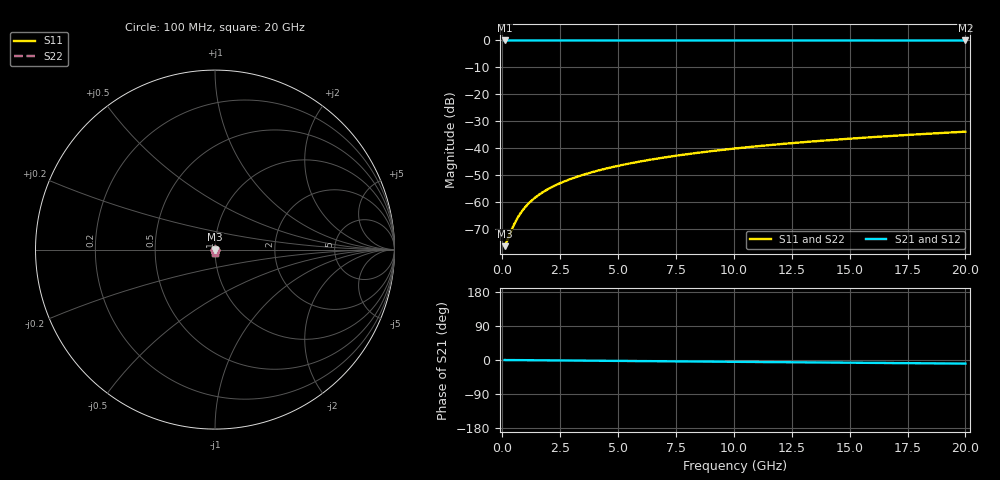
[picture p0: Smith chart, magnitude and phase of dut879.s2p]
! Touchstone file exported from HFSS 2026.1.0
!  File:  C:/ffzhzh/LocalFiles/Ansys_Project_Files/temp_train_TSV_879_1783185724_43440.aedt
!  Generated:  01:23:42 AM Jul  5, 2026
!  Design:  TSV
!  Project:  temp_train_TSV_879_1783185724_43440
! Variables:
!  h_bsmrdl = 2um
!  h_ox = 20um
!  h_rdl = 5um
!  h_sub = 99.41um
!  h_tmrdl = 5um
!  h_tsv = 99.41um
!  h_via = 3um
!  l_bsmrdl = 300um
!  l_sub = 420.68um
!  l_tmrdl = 200um
!  m_sub = 200um
!  pitch = 37.12um
!  r_tsv = 10.34um
!  s_tmrdl = 10um
!  w_bsmrdl = 18um
!  w_sub = 500um
!  w_tmrdl = 12um
!  x_tsv_center1 = 206um
!  x_tsv_center2 = 524um
!  x_tsv_center3 = 736um
!  x_tsv_center4 = 1054um
!  x_tsv_center5 = 1266um
!  x_tsv_center6 = 1584um
# GHz S MA R 50.000000
! Terminal data exported
! Port[1] = TSV1_1_T1
! Port[2] = TSV1_1_T2
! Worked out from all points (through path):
!   200 points, 100 MHz to 20 GHz, reference 50 ohm
!   highest |S21| = 0.00 dB at 100 MHz (marker M1); lowest = 0.0 dB at 20 GHz (marker M2)
!   group delay of S21, straight-line fit = 1.32 ps
!   lowest |S11| = -76.2 dB at 100 MHz (marker M3), VSWR 1.00, Z = 50 - j0.00476 ohm
!   |S11| at or under -10 dB: start of sweep to end of sweep
!   |S22| runs from -76.2 to -33.8 dB; largest |S21 - S12| = 5e-15
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0.1  0.0001549 -17.9  0.9999 -0.1  0.9999 -0.1  0.0001549 -17.9
! Gamma 0 0 0 0
! Port Impedance 50 0 50 0
0.2  0.0001907 -31.2  0.9998 -0.1  0.9998 -0.1  0.0001907 -31.2
0.4  0.0003091 -46.1  0.9998 -0.2  0.9998 -0.2  0.0003091 -46.1
0.5  0.0003839 -50.5  0.9998 -0.2  0.9998 -0.2  0.0003839 -50.5
0.6  0.0004655 -54.0  0.9997 -0.3  0.9997 -0.3  0.0004655 -54.0
0.7  0.000552 -56.9  0.9997 -0.3  0.9997 -0.3  0.000552 -56.9
0.8  0.0006419 -59.4  0.9997 -0.4  0.9997 -0.4  0.0006419 -59.4
1  0.0008279 -63.5  0.9996 -0.5  0.9996 -0.5  0.0008279 -63.5
1.3  0.001114 -67.9  0.9996 -0.6  0.9996 -0.6  0.001114 -67.9
1.7  0.0015 -72.0  0.9995 -0.8  0.9995 -0.8  0.0015 -72.0
2.2  0.001985 -75.4  0.9995 -1.1  0.9995 -1.1  0.001985 -75.4
2.8  0.002571 -78.0  0.9994 -1.3  0.9994 -1.3  0.002571 -78.0
3.5  0.00326 -80.1  0.9993 -1.7  0.9993 -1.7  0.00326 -80.1
4.2  0.003958 -81.6  0.9993 -2.0  0.9993 -2.0  0.003958 -81.6
5  0.004764 -82.9  0.9992 -2.4  0.9992 -2.4  0.004764 -82.9
5.9  0.005681 -84.1  0.9991 -2.8  0.9991 -2.8  0.005681 -84.1
6.8  0.006606 -85.2  0.9991 -3.3  0.9991 -3.3  0.006606 -85.2
8.3  0.008159 -86.8  0.9989 -4.0  0.9989 -4.0  0.008159 -86.8
10.1  0.01003 -88.4  0.9988 -4.8  0.9988 -4.8  0.01003 -88.4
13.4  0.01348 -90.9  0.9986 -6.4  0.9986 -6.4  0.01348 -90.9
16.7  0.01695 -93.1  0.9984 -7.9  0.9984 -7.9  0.01695 -93.1
20  0.02044 -95.0  0.9982 -9.5  0.9982 -9.5  0.02044 -95.0
